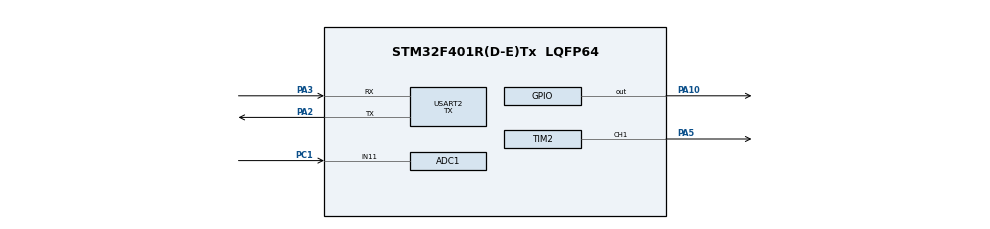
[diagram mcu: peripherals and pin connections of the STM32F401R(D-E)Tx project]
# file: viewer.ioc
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ADC1.Channel-4\#ChannelRegularConversion=ADC_CHANNEL_11
ADC1.EOCSelection=ADC_EOC_SEQ_CONV
ADC1.ExternalTrigConv=ADC_EXTERNALTRIGCONV_T2_TRGO
ADC1.NbrOfConversionFlag=1
ADC1.Rank-4\#ChannelRegularConversion=1
ADC1.Resolution=ADC_RESOLUTION_8B
ADC1.SamplingTime-4\#ChannelRegularConversion=ADC_SAMPLETIME_3CYCLES
ADC1.master=1
Dma.ADC1.1.Direction=DMA_PERIPH_TO_MEMORY
Dma.ADC1.1.FIFOMode=DMA_FIFOMODE_DISABLE
Dma.ADC1.1.Instance=DMA2_Stream0
Dma.ADC1.1.MemDataAlignment=DMA_MDATAALIGN_BYTE
Dma.ADC1.1.MemInc=DMA_MINC_ENABLE
Dma.ADC1.1.Mode=DMA_NORMAL
Dma.ADC1.1.PeriphDataAlignment=DMA_PDATAALIGN_BYTE
Dma.ADC1.1.PeriphInc=DMA_PINC_DISABLE
Dma.ADC1.1.Priority=DMA_PRIORITY_LOW
Dma.Request0=USART2_TX
Dma.Request1=ADC1
Dma.USART2_TX.0.Direction=DMA_MEMORY_TO_PERIPH
Dma.USART2_TX.0.FIFOMode=DMA_FIFOMODE_DISABLE
Dma.USART2_TX.0.Instance=DMA1_Stream6
Dma.USART2_TX.0.MemDataAlignment=DMA_MDATAALIGN_BYTE
Dma.USART2_TX.0.MemInc=DMA_MINC_ENABLE
Dma.USART2_TX.0.Mode=DMA_NORMAL
Dma.USART2_TX.0.PeriphDataAlignment=DMA_PDATAALIGN_BYTE
Dma.USART2_TX.0.PeriphInc=DMA_PINC_DISABLE
Dma.USART2_TX.0.Priority=DMA_PRIORITY_LOW
Mcu.Family=STM32F4
Mcu.Name=STM32F401R(D-E)Tx
Mcu.Package=LQFP64
NVIC.DMA1_Stream6_IRQn=true\:0\:0\:false\:false\:true\:false\:true
NVIC.DMA2_Stream0_IRQn=true\:0\:0\:false\:false\:true\:false\:true
NVIC.PriorityGroup=NVIC_PRIORITYGROUP_4
NVIC.USART2_IRQn=true\:0\:0\:false\:false\:true\:true\:true
PA10.Signal=GPIO_Output
PA2.Mode=Asynchronous
PA2.Signal=USART2_TX
PA3.Mode=Asynchronous
PA3.Signal=USART2_RX
PA5.Signal=S_TIM2_CH1_ETR
PC1.Signal=ADCx_IN11
ProjectManager.HeapSize=0x200
ProjectManager.StackSize=0x400
ProjectManager.TargetToolchain=STM32CubeIDE
RCC.48MHZClocksFreq_Value=84000000
RCC.AHBFreq_Value=84000000
RCC.APB1CLKDivider=RCC_HCLK_DIV2
RCC.APB1Freq_Value=42000000
RCC.APB1TimFreq_Value=84000000
RCC.APB2Freq_Value=84000000
RCC.APB2TimFreq_Value=84000000
RCC.CortexFreq_Value=84000000
RCC.HCLKFreq_Value=84000000
RCC.HSE_VALUE=25000000
RCC.HSI_VALUE=16000000
RCC.LSE_VALUE=32768
RCC.PLLN=336
RCC.PLLP=RCC_PLLP_DIV4
RCC.SYSCLKFreq_VALUE=84000000
RCC.SYSCLKSource=RCC_SYSCLKSOURCE_PLLCLK
RCC.VCOOutputFreq_Value=336000000
SH.ADCx_IN11.0=ADC1_IN11,IN11
SH.S_TIM2_CH1_ETR.0=TIM2_CH1,Output Compare1 CH1
TIM2.AutoReloadPreload=TIM_AUTORELOAD_PRELOAD_ENABLE
TIM2.Channel-Output\ Compare1\ CH1=TIM_CHANNEL_1
TIM2.OCMode_1=TIM_OCMODE_TOGGLE
TIM2.Period=100
TIM2.Prescaler=20
TIM2.Pulse-Output\ Compare1\ CH1=99
TIM2.TIM_MasterOutputTrigger=TIM_TRGO_OC1REF
USART2.Mode=MODE_TX
USART2.VirtualMode=VM_ASYNC
VP_TIM2_VS_ClockSourceINT.Mode=Internal
board=custom

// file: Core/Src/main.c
/* USER CODE BEGIN Header */
/**
  ******************************************************************************
  * @file           : main.c
  * @brief          : Main program body
  ******************************************************************************
  * @attention
  *
  * <h2><center>&copy; Copyright (c) 2020 STMicroelectronics.
  * All rights reserved.</center></h2>
  *
  * This software component is licensed by ST under BSD 3-Clause license,
  * the "License"; You may not use this file except in compliance with the
  * License. You may obtain a copy of the License at:
  *                        opensource.org/licenses/BSD-3-Clause
  *
  ******************************************************************************
  */
/* USER CODE END Header */

#include "main.h"

/* USER CODE BEGIN PV */
  extern const int NN = 256;
  extern uint8_t samples0[256];
  int pointer;
  int i;
  static const uint8_t str[5] = {1,2,3,4,5};

/* USER CODE END PV */

void SystemClock_Config(void);
static void MX_GPIO_Init(void);
static void MX_DMA_Init(void);
static void MX_ADC1_Init(void);
static void MX_TIM2_Init(void);
static void MX_USART2_UART_Init(void);

int main(void)
{

  /* MCU Configuration--------------------------------------------------------*/

  /* Reset of all peripherals, Initializes the Flash interface and the Systick. */

  LL_APB2_GRP1_EnableClock(LL_APB2_GRP1_PERIPH_SYSCFG);
  LL_APB1_GRP1_EnableClock(LL_APB1_GRP1_PERIPH_PWR);

  NVIC_SetPriorityGrouping(NVIC_PRIORITYGROUP_4);

  /* System interrupt init*/

  /* USER CODE BEGIN Init */
  int i;
  /* USER CODE END Init */

  /* Configure the system clock */
  SystemClock_Config();

  /* Initialize all configured peripherals */
  MX_GPIO_Init();
  MX_DMA_Init();
  MX_ADC1_Init();
  MX_TIM2_Init();
  MX_USART2_UART_Init();
  /* USER CODE BEGIN 2 */
  /* direct tx of a few data */
    for (i = 1; i < 6; ++i){
  	  LL_USART_TransmitData8(USART2, str[i]);
  	  while(LL_USART_IsActiveFlag_TC(USART2)==0);
    }

  LL_TIM_WriteReg(TIM2,CR1,LL_TIM_ReadReg(TIM2,CR1)|0x01);		/* timer 2 enable */
  LL_ADC_WriteReg(ADC1,CR2,LL_ADC_ReadReg(ADC1,CR2)|0x001);	    /* ADC1 enable */
  /*LL_ADC_WriteReg(ADC1,CR1,LL_ADC_ReadReg(ADC1,CR1)|0x020);*/	    /* ADC1 interrupt enable */
  /*LL_ADC_WriteReg(ADC1,CR2,LL_ADC_ReadReg(ADC1,CR2)|0x0200);*/	/* ADC1 set DDS  */
  LL_DMA_SetMemoryAddress(DMA1, LL_DMA_STREAM_6, (uint32_t)samples0);
  /*LL_DMA_SetMemory1Address(DMA1, LL_DMA_STREAM_6, (uint32_t)samples1);*/
  LL_DMA_SetPeriphAddress(DMA1, LL_DMA_STREAM_6, (uint32_t)&USART2->DR);
  LL_DMA_SetDataLength(DMA1, LL_DMA_STREAM_6, NN);
  /*LL_DMA_WriteReg(DMA1,S6CR,LL_DMA_ReadReg(DMA1,S6CR)|0x40000);*/	/* set double-buffer mode */
  /*LL_DMA_EnableDoubleBufferMode(DMA1,LL_DMA_STREAM_6);*/
  LL_DMA_SetMemoryAddress(DMA2, LL_DMA_STREAM_0, (uint32_t)samples0);
  /*LL_DMA_SetMemory1Address(DMA2, LL_DMA_STREAM_0, (uint32_t)samples1);*/
  LL_DMA_SetPeriphAddress(DMA2, LL_DMA_STREAM_0, (uint32_t)&ADC1->DR);
  LL_DMA_SetDataLength(DMA2, LL_DMA_STREAM_0, NN);
  /*LL_DMA_WriteReg(DMA2,S0CR,LL_DMA_ReadReg(DMA2,S0CR)|0x40000);*/	/* set double-buffer mode */
  /*LL_DMA_EnableDoubleBufferMode(DMA2,LL_DMA_STREAM_0);*/
  /*LL_USART_ClearFlag_TC(USART2);*/
  /*LL_USART_Enable (USART2);*/										/* USART enable */
  /*LL_USART_WriteReg(USART2,CR1,LL_USART_ReadReg(USART2,CR1)|0x040);*/	    /* USART interrupt enable */
  /*LL_DMA_EnableStream(DMA1, LL_DMA_STREAM_6);*/
  /*LL_USART_EnableDMAReq_TX(USART2);*/
  LL_DBGMCU_APB1_GRP1_FreezePeriph(LL_DBGMCU_APB1_GRP1_TIM2_STOP);
  LL_DMA_EnableIT_TC(DMA2,LL_DMA_STREAM_0);
  LL_DMA_EnableIT_TC(DMA1,LL_DMA_STREAM_6);
  LL_DMA_EnableStream(DMA2, LL_DMA_STREAM_0);
  /* USER CODE END 2 */

  /* Infinite loop */
  /* USER CODE BEGIN WHILE */
  pointer = 0;
  LL_GPIO_WriteReg(GPIOA ,ODR, LL_GPIO_ReadReg(GPIOA , ODR) | 0x400);

  while (1)
  {
	  LL_GPIO_WriteReg(GPIOA ,ODR, LL_GPIO_ReadReg(GPIOA , ODR) ^ 0x400);
	  LL_mDelay(0.5);

    /* USER CODE END WHILE */

  }
}

void SystemClock_Config(void)
{
  LL_FLASH_SetLatency(LL_FLASH_LATENCY_2);

   if(LL_FLASH_GetLatency() != LL_FLASH_LATENCY_2)
  {
  Error_Handler();
  }
  LL_PWR_SetRegulVoltageScaling(LL_PWR_REGU_VOLTAGE_SCALE2);
  LL_RCC_HSI_SetCalibTrimming(16);
  LL_RCC_HSI_Enable();

   /* Wait till HSI is ready */
  while(LL_RCC_HSI_IsReady() != 1)
  {

  }
  LL_RCC_PLL_ConfigDomain_SYS(LL_RCC_PLLSOURCE_HSI, LL_RCC_PLLM_DIV_16, 336, LL_RCC_PLLP_DIV_4);
  LL_RCC_PLL_Enable();

   /* Wait till PLL is ready */
  while(LL_RCC_PLL_IsReady() != 1)
  {

  }
  LL_RCC_SetAHBPrescaler(LL_RCC_SYSCLK_DIV_1);
  LL_RCC_SetAPB1Prescaler(LL_RCC_APB1_DIV_2);
  LL_RCC_SetAPB2Prescaler(LL_RCC_APB2_DIV_1);
  LL_RCC_SetSysClkSource(LL_RCC_SYS_CLKSOURCE_PLL);

   /* Wait till System clock is ready */
  while(LL_RCC_GetSysClkSource() != LL_RCC_SYS_CLKSOURCE_STATUS_PLL)
  {

  }
  LL_Init1msTick(84000000);
  LL_SYSTICK_SetClkSource(LL_SYSTICK_CLKSOURCE_HCLK);
  LL_SetSystemCoreClock(84000000);
  LL_RCC_SetTIMPrescaler(LL_RCC_TIM_PRESCALER_TWICE);
}

static void MX_ADC1_Init(void)
{

  LL_ADC_InitTypeDef ADC_InitStruct = {0};
  LL_ADC_REG_InitTypeDef ADC_REG_InitStruct = {0};
  LL_ADC_CommonInitTypeDef ADC_CommonInitStruct = {0};

  LL_GPIO_InitTypeDef GPIO_InitStruct = {0};

  /* Peripheral clock enable */
  LL_APB2_GRP1_EnableClock(LL_APB2_GRP1_PERIPH_ADC1);

  LL_AHB1_GRP1_EnableClock(LL_AHB1_GRP1_PERIPH_GPIOC);
  /**ADC1 GPIO Configuration
  PC1   ------> ADC1_IN11
  */
  GPIO_InitStruct.Pin = LL_GPIO_PIN_1;
  GPIO_InitStruct.Mode = LL_GPIO_MODE_ANALOG;
  GPIO_InitStruct.Pull = LL_GPIO_PULL_NO;
  LL_GPIO_Init(GPIOC, &GPIO_InitStruct);

  /* ADC1 DMA Init */

  /* ADC1 Init */
  LL_DMA_SetChannelSelection(DMA2, LL_DMA_STREAM_0, LL_DMA_CHANNEL_0);

  LL_DMA_SetDataTransferDirection(DMA2, LL_DMA_STREAM_0, LL_DMA_DIRECTION_PERIPH_TO_MEMORY);

  LL_DMA_SetStreamPriorityLevel(DMA2, LL_DMA_STREAM_0, LL_DMA_PRIORITY_LOW);

  LL_DMA_SetMode(DMA2, LL_DMA_STREAM_0, LL_DMA_MODE_NORMAL);

  LL_DMA_SetPeriphIncMode(DMA2, LL_DMA_STREAM_0, LL_DMA_PERIPH_NOINCREMENT);

  LL_DMA_SetMemoryIncMode(DMA2, LL_DMA_STREAM_0, LL_DMA_MEMORY_INCREMENT);

  LL_DMA_SetPeriphSize(DMA2, LL_DMA_STREAM_0, LL_DMA_PDATAALIGN_BYTE);

  LL_DMA_SetMemorySize(DMA2, LL_DMA_STREAM_0, LL_DMA_MDATAALIGN_BYTE);

  LL_DMA_DisableFifoMode(DMA2, LL_DMA_STREAM_0);

  /** Common config
  */
  ADC_InitStruct.Resolution = LL_ADC_RESOLUTION_8B;
  ADC_InitStruct.DataAlignment = LL_ADC_DATA_ALIGN_RIGHT;
  ADC_InitStruct.SequencersScanMode = LL_ADC_SEQ_SCAN_DISABLE;
  LL_ADC_Init(ADC1, &ADC_InitStruct);
  ADC_REG_InitStruct.TriggerSource = LL_ADC_REG_TRIG_EXT_TIM2_TRGO;
  ADC_REG_InitStruct.SequencerLength = LL_ADC_REG_SEQ_SCAN_DISABLE;
  ADC_REG_InitStruct.SequencerDiscont = LL_ADC_REG_SEQ_DISCONT_DISABLE;
  ADC_REG_InitStruct.ContinuousMode = LL_ADC_REG_CONV_SINGLE;
  ADC_REG_InitStruct.DMATransfer = LL_ADC_REG_DMA_TRANSFER_LIMITED;
  LL_ADC_REG_Init(ADC1, &ADC_REG_InitStruct);
  LL_ADC_REG_SetFlagEndOfConversion(ADC1, LL_ADC_REG_FLAG_EOC_SEQUENCE_CONV);
  LL_ADC_DisableIT_EOCS(ADC1);
  ADC_CommonInitStruct.CommonClock = LL_ADC_CLOCK_SYNC_PCLK_DIV4;
  LL_ADC_CommonInit(__LL_ADC_COMMON_INSTANCE(ADC1), &ADC_CommonInitStruct);
  LL_ADC_REG_StartConversionExtTrig(ADC1, LL_ADC_REG_TRIG_EXT_RISING);
  /** Configure Regular Channel
  */
  LL_ADC_REG_SetSequencerRanks(ADC1, LL_ADC_REG_RANK_1, LL_ADC_CHANNEL_11);
  LL_ADC_SetChannelSamplingTime(ADC1, LL_ADC_CHANNEL_11, LL_ADC_SAMPLINGTIME_3CYCLES);

}

static void MX_TIM2_Init(void)
{

  LL_TIM_InitTypeDef TIM_InitStruct = {0};
  LL_TIM_OC_InitTypeDef TIM_OC_InitStruct = {0};

  LL_GPIO_InitTypeDef GPIO_InitStruct = {0};

  /* Peripheral clock enable */
  LL_APB1_GRP1_EnableClock(LL_APB1_GRP1_PERIPH_TIM2);

  TIM_InitStruct.Prescaler = 20;
  TIM_InitStruct.CounterMode = LL_TIM_COUNTERMODE_UP;
  TIM_InitStruct.Autoreload = 100;
  TIM_InitStruct.ClockDivision = LL_TIM_CLOCKDIVISION_DIV1;
  LL_TIM_Init(TIM2, &TIM_InitStruct);
  LL_TIM_EnableARRPreload(TIM2);
  LL_TIM_SetClockSource(TIM2, LL_TIM_CLOCKSOURCE_INTERNAL);
  TIM_OC_InitStruct.OCMode = LL_TIM_OCMODE_TOGGLE;
  TIM_OC_InitStruct.OCState = LL_TIM_OCSTATE_DISABLE;
  TIM_OC_InitStruct.OCNState = LL_TIM_OCSTATE_DISABLE;
  TIM_OC_InitStruct.CompareValue = 99;
  TIM_OC_InitStruct.OCPolarity = LL_TIM_OCPOLARITY_HIGH;
  LL_TIM_OC_Init(TIM2, LL_TIM_CHANNEL_CH1, &TIM_OC_InitStruct);
  LL_TIM_OC_DisableFast(TIM2, LL_TIM_CHANNEL_CH1);
  LL_TIM_SetTriggerOutput(TIM2, LL_TIM_TRGO_OC1REF);
  LL_TIM_DisableMasterSlaveMode(TIM2);
  LL_AHB1_GRP1_EnableClock(LL_AHB1_GRP1_PERIPH_GPIOA);
  /**TIM2 GPIO Configuration
  PA5   ------> TIM2_CH1
  */
  GPIO_InitStruct.Pin = LL_GPIO_PIN_5;
  GPIO_InitStruct.Mode = LL_GPIO_MODE_ALTERNATE;
  GPIO_InitStruct.Speed = LL_GPIO_SPEED_FREQ_LOW;
  GPIO_InitStruct.OutputType = LL_GPIO_OUTPUT_PUSHPULL;
  GPIO_InitStruct.Pull = LL_GPIO_PULL_NO;
  GPIO_InitStruct.Alternate = LL_GPIO_AF_1;
  LL_GPIO_Init(GPIOA, &GPIO_InitStruct);

}

static void MX_USART2_UART_Init(void)
{

  LL_USART_InitTypeDef USART_InitStruct = {0};

  LL_GPIO_InitTypeDef GPIO_InitStruct = {0};

  /* Peripheral clock enable */
  LL_APB1_GRP1_EnableClock(LL_APB1_GRP1_PERIPH_USART2);

  LL_AHB1_GRP1_EnableClock(LL_AHB1_GRP1_PERIPH_GPIOA);
  /**USART2 GPIO Configuration
  PA2   ------> USART2_TX
  PA3   ------> USART2_RX
  */
  GPIO_InitStruct.Pin = LL_GPIO_PIN_2|LL_GPIO_PIN_3;
  GPIO_InitStruct.Mode = LL_GPIO_MODE_ALTERNATE;
  GPIO_InitStruct.Speed = LL_GPIO_SPEED_FREQ_VERY_HIGH;
  GPIO_InitStruct.OutputType = LL_GPIO_OUTPUT_PUSHPULL;
  GPIO_InitStruct.Pull = LL_GPIO_PULL_NO;
  GPIO_InitStruct.Alternate = LL_GPIO_AF_7;
  LL_GPIO_Init(GPIOA, &GPIO_InitStruct);

  /* USART2 DMA Init */

  /* USART2_TX Init */
  LL_DMA_SetChannelSelection(DMA1, LL_DMA_STREAM_6, LL_DMA_CHANNEL_4);

  LL_DMA_SetDataTransferDirection(DMA1, LL_DMA_STREAM_6, LL_DMA_DIRECTION_MEMORY_TO_PERIPH);

  LL_DMA_SetStreamPriorityLevel(DMA1, LL_DMA_STREAM_6, LL_DMA_PRIORITY_LOW);

  LL_DMA_SetMode(DMA1, LL_DMA_STREAM_6, LL_DMA_MODE_NORMAL);

  LL_DMA_SetPeriphIncMode(DMA1, LL_DMA_STREAM_6, LL_DMA_PERIPH_NOINCREMENT);

  LL_DMA_SetMemoryIncMode(DMA1, LL_DMA_STREAM_6, LL_DMA_MEMORY_INCREMENT);

  LL_DMA_SetPeriphSize(DMA1, LL_DMA_STREAM_6, LL_DMA_PDATAALIGN_BYTE);

  LL_DMA_SetMemorySize(DMA1, LL_DMA_STREAM_6, LL_DMA_MDATAALIGN_BYTE);

  LL_DMA_DisableFifoMode(DMA1, LL_DMA_STREAM_6);

  /* USART2 interrupt Init */
  NVIC_SetPriority(USART2_IRQn, NVIC_EncodePriority(NVIC_GetPriorityGrouping(),0, 0));
  NVIC_EnableIRQ(USART2_IRQn);

  USART_InitStruct.BaudRate = 115200;
  USART_InitStruct.DataWidth = LL_USART_DATAWIDTH_8B;
  USART_InitStruct.StopBits = LL_USART_STOPBITS_1;
  USART_InitStruct.Parity = LL_USART_PARITY_NONE;
  USART_InitStruct.TransferDirection = LL_USART_DIRECTION_TX;
  USART_InitStruct.HardwareFlowControl = LL_USART_HWCONTROL_NONE;
  USART_InitStruct.OverSampling = LL_USART_OVERSAMPLING_16;
  LL_USART_Init(USART2, &USART_InitStruct);
  LL_USART_ConfigAsyncMode(USART2);
  LL_USART_Enable(USART2);

}

static void MX_DMA_Init(void)
{

  /* Init with LL driver */
  /* DMA controller clock enable */
  LL_AHB1_GRP1_EnableClock(LL_AHB1_GRP1_PERIPH_DMA1);
  LL_AHB1_GRP1_EnableClock(LL_AHB1_GRP1_PERIPH_DMA2);

  /* DMA interrupt init */
  /* DMA1_Stream6_IRQn interrupt configuration */
  NVIC_SetPriority(DMA1_Stream6_IRQn, NVIC_EncodePriority(NVIC_GetPriorityGrouping(),0, 0));
  NVIC_EnableIRQ(DMA1_Stream6_IRQn);
  /* DMA2_Stream0_IRQn interrupt configuration */
  NVIC_SetPriority(DMA2_Stream0_IRQn, NVIC_EncodePriority(NVIC_GetPriorityGrouping(),0, 0));
  NVIC_EnableIRQ(DMA2_Stream0_IRQn);

}

static void MX_GPIO_Init(void)
{
  LL_GPIO_InitTypeDef GPIO_InitStruct = {0};

  /* GPIO Ports Clock Enable */
  LL_AHB1_GRP1_EnableClock(LL_AHB1_GRP1_PERIPH_GPIOC);
  LL_AHB1_GRP1_EnableClock(LL_AHB1_GRP1_PERIPH_GPIOA);

  /**/
  LL_GPIO_ResetOutputPin(GPIOA, LL_GPIO_PIN_10);

  /**/
  GPIO_InitStruct.Pin = LL_GPIO_PIN_10;
  GPIO_InitStruct.Mode = LL_GPIO_MODE_OUTPUT;
  GPIO_InitStruct.Speed = LL_GPIO_SPEED_FREQ_LOW;
  GPIO_InitStruct.OutputType = LL_GPIO_OUTPUT_PUSHPULL;
  GPIO_InitStruct.Pull = LL_GPIO_PULL_NO;
  LL_GPIO_Init(GPIOA, &GPIO_InitStruct);

}

void Error_Handler(void)
{
}

/************************ (C) COPYRIGHT STMicroelectronics *****END OF FILE****/
